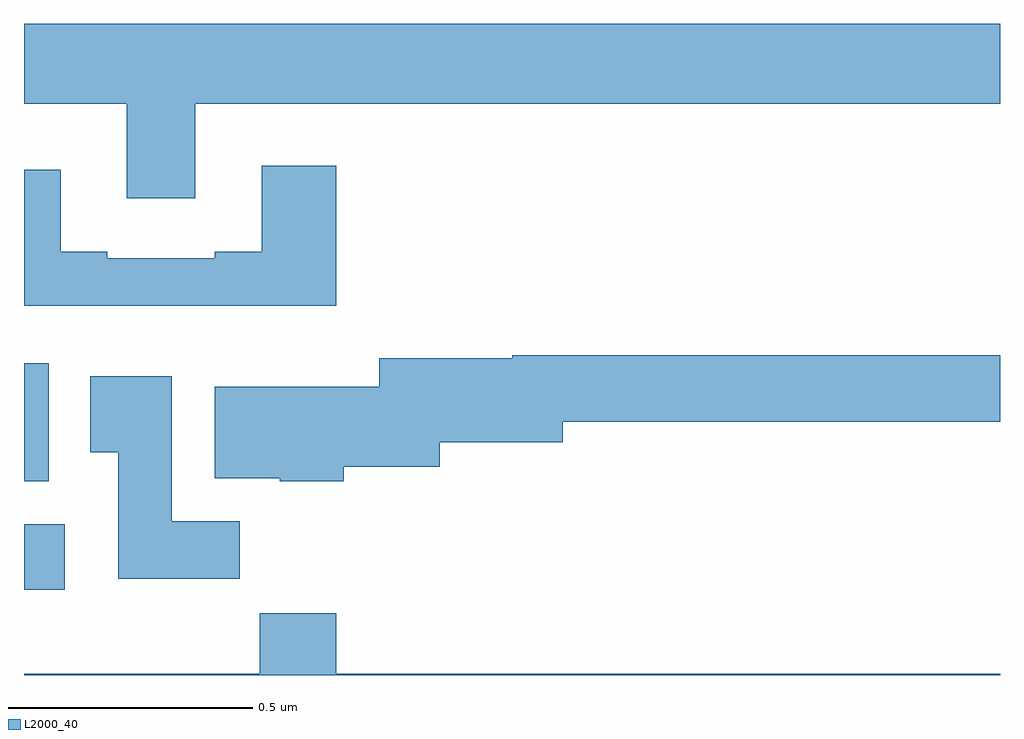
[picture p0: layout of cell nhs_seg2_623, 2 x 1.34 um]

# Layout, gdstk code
import gdstk
lib = gdstk.Library(unit=1e-6, precision=1e-09)
def R(c, l, rs):  # rectangles x0, y0, x1, y1
    for r in rs: c.add(gdstk.rectangle(r[:2], r[2:], *l))
def P(c, l, *ps):  # polygons
    for p in ps: c.add(gdstk.Polygon(p, *l))
L2000_40 = (2000, 40)

nhs_seg2_623 = lib.new_cell('nhs_seg2_623')
R(nhs_seg2_623, L2000_40, [(118,643.976,118.084,644.11), (118,644.198,118.051,644.44)])
P(nhs_seg2_623, L2000_40, [(118.351,644.972),(120,644.972),(120,645.136),(118,645.136),(118,644.972),(118.211,644.972),(118.211,644.778),(118.351,644.778)],
  [(118.64,644.845),(118.487,644.845),(118.487,644.668),(118.391,644.668),(118.391,644.655),(118.171,644.655),(118.171,644.668),(118.075,644.668),(118.075,644.836),(118,644.836),(118,644.558),(118.64,644.558)],
  [(118.655,644.228),(118.852,644.228),(118.852,644.278),(119.104,644.278),(119.104,644.32),(120,644.32),(120,644.456),(119,644.456),(119,644.45),(118.728,644.45),(118.728,644.392),(118.391,644.392),(118.391,644.204),(118.524,644.204),(118.524,644.198),(118.655,644.198)],
  [(118.442,644.116),(118.303,644.116),(118.303,644.413),(118.136,644.413),(118.136,644.257),(118.193,644.257),(118.193,643.998),(118.442,643.998)],
  [(120,643.804),(118.64,643.804),(118.64,643.928),(118.483,643.928),(118.483,643.804),(118,643.804),(118,643.8),(120,643.8)])

lib.write_gds('nhs_seg2_623.gds')
